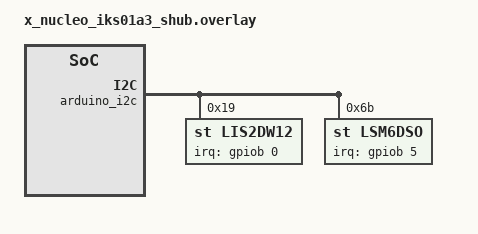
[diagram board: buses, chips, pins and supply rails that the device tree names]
/*
 * Copyright (c) 2019 STMicroelectronics
 *
 * SPDX-License-Identifier: Apache-2.0
 */

&arduino_i2c {

	lis2dw12@19 {
		compatible = "st,lis2dw12";
		reg = <0x19>;
		irq-gpios = <&gpiob 0 0>;
		label = "LIS2DW12";
	};

	lsm6dso@6b {
		compatible = "st,lsm6dso";
		reg = <0x6b>;
		irq-gpios = <&gpiob 5 0>;
		label = "LSM6DSO";
	};
};
